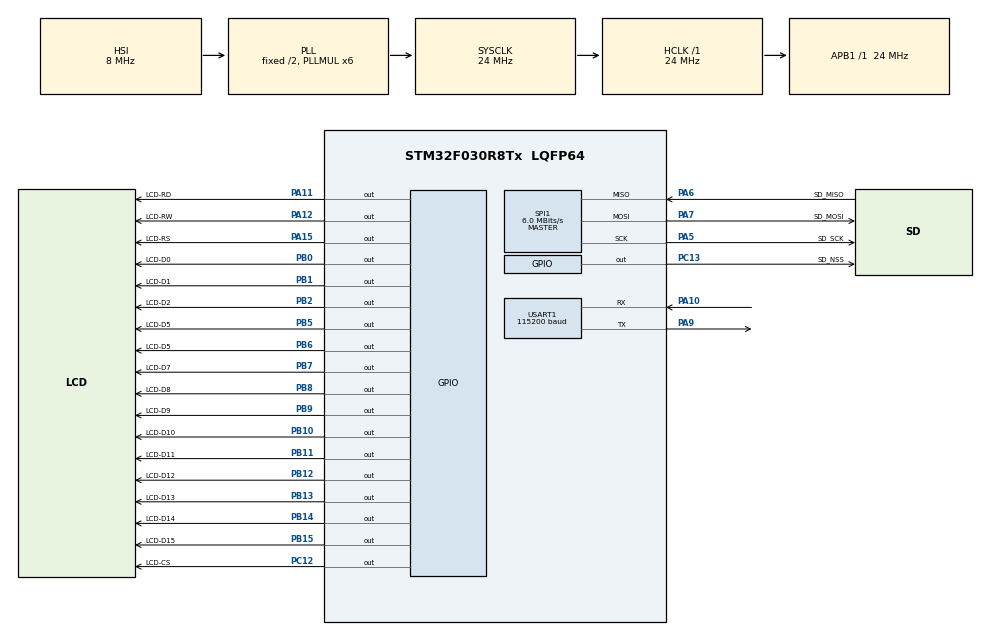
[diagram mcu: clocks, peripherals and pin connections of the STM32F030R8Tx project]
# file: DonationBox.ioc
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Dma.Request0=SPI1_RX
Dma.Request1=SPI1_TX
Dma.SPI1_RX.0.Direction=DMA_PERIPH_TO_MEMORY
Dma.SPI1_RX.0.Instance=DMA1_Channel2
Dma.SPI1_RX.0.MemDataAlignment=DMA_MDATAALIGN_BYTE
Dma.SPI1_RX.0.MemInc=DMA_MINC_ENABLE
Dma.SPI1_RX.0.Mode=DMA_NORMAL
Dma.SPI1_RX.0.PeriphDataAlignment=DMA_PDATAALIGN_BYTE
Dma.SPI1_RX.0.PeriphInc=DMA_PINC_DISABLE
Dma.SPI1_RX.0.Priority=DMA_PRIORITY_LOW
Dma.SPI1_TX.1.Direction=DMA_MEMORY_TO_PERIPH
Dma.SPI1_TX.1.Instance=DMA1_Channel3
Dma.SPI1_TX.1.MemDataAlignment=DMA_MDATAALIGN_BYTE
Dma.SPI1_TX.1.MemInc=DMA_MINC_ENABLE
Dma.SPI1_TX.1.Mode=DMA_NORMAL
Dma.SPI1_TX.1.PeriphDataAlignment=DMA_PDATAALIGN_BYTE
Dma.SPI1_TX.1.PeriphInc=DMA_PINC_DISABLE
Dma.SPI1_TX.1.Priority=DMA_PRIORITY_LOW
Mcu.Family=STM32F0
Mcu.Name=STM32F030R8Tx
Mcu.Package=LQFP64
NVIC.DMA1_Channel2_3_IRQn=true\:0\:0\:false\:false\:true\:false
NVIC.RTC_IRQn=true\:0\:0\:false\:false\:true\:true
NVIC.USART1_IRQn=true\:0\:0\:false\:false\:true\:true
PA10.Mode=Asynchronous
PA10.Signal=USART1_RX
PA11.GPIO_Label=LCD-RD
PA11.Signal=GPIO_Output
PA12.GPIO_Label=LCD-RW
PA12.Signal=GPIO_Output
PA15.GPIO_Label=LCD-RS
PA15.Signal=GPIO_Output
PA5.GPIO_Label=SD_SCK
PA5.Mode=Full_Duplex_Master
PA5.Signal=SPI1_SCK
PA6.GPIO_Label=SD_MISO
PA6.Mode=Full_Duplex_Master
PA6.Signal=SPI1_MISO
PA7.GPIO_Label=SD_MOSI
PA7.Mode=Full_Duplex_Master
PA7.Signal=SPI1_MOSI
PA9.Mode=Asynchronous
PA9.Signal=USART1_TX
PB0.GPIO_Label=LCD-D0
PB0.Signal=GPIO_Output
PB1.GPIO_Label=LCD-D1
PB1.Signal=GPIO_Output
PB10.GPIO_Label=LCD-D10
PB10.Signal=GPIO_Output
PB11.GPIO_Label=LCD-D11
PB11.Signal=GPIO_Output
PB12.GPIO_Label=LCD-D12
PB12.Signal=GPIO_Output
PB13.GPIO_Label=LCD-D13
PB13.Signal=GPIO_Output
PB14.GPIO_Label=LCD-D14
PB14.Signal=GPIO_Output
PB15.GPIO_Label=LCD-D15
PB15.Signal=GPIO_Output
PB2.GPIO_Label=LCD-D2
PB2.Signal=GPIO_Output
PB5.GPIO_Label=LCD-D5
PB5.Signal=GPIO_Output
PB6.GPIO_Label=LCD-D5
PB6.Signal=GPIO_Output
PB7.GPIO_Label=LCD-D7
PB7.Signal=GPIO_Output
PB8.GPIO_Label=LCD-D8
PB8.Signal=GPIO_Output
PB9.GPIO_Label=LCD-D9
PB9.Signal=GPIO_Output
PC12.GPIO_Label=LCD-CS
PC12.Signal=GPIO_Output
PC13.GPIO_Label=SD_NSS
PC13.Signal=GPIO_Output
PF0-OSC_IN.Mode=HSE-External-Oscillator
PF0-OSC_IN.Signal=RCC_OSC_IN
PF1-OSC_OUT.Mode=HSE-External-Oscillator
PF1-OSC_OUT.Signal=RCC_OSC_OUT
ProjectManager.HeapSize=0x200
ProjectManager.StackSize=0x400
ProjectManager.TargetToolchain=Makefile
RCC.AHBFreq_Value=24000000
RCC.APB1Freq_Value=24000000
RCC.APB1TimFreq_Value=24000000
RCC.HCLKFreq_Value=24000000
RCC.I2c1ClockSelection=RCC_I2C1CLKSOURCE_SYSCLK
RCC.PLLMUL=RCC_PLL_MUL6
RCC.SYSCLKFreq_VALUE=24000000
RCC.SYSCLKSource=RCC_SYSCLKSOURCE_PLLCLK
RTC.Alarm-Alarm\ A=RTC_ALARM_A
RTC.AlarmMaskDateWeekDay-Alarm\ A=RTC_ALARMMASK_DATEWEEKDAY
RTC.AlarmMaskHours-Alarm\ A=RTC_ALARMMASK_HOURS
RTC.AlarmMaskSeconds-Alarm\ A=RTC_ALARMMASK_SECONDS
RTC.Date=12
RTC.Hours=12
RTC.Hours_A-Alarm\ A=0
RTC.Minutes_A-Alarm\ A=0
RTC.Month=RTC_MONTH_MAY
RTC.Seconds_A-Alarm\ A=59
RTC.SubSeconds_A-Alarm\ A=0
RTC.WeekDay=RTC_WEEKDAY_SATURDAY
RTC.Year=18
SPI1.BaudRatePrescaler=SPI_BAUDRATEPRESCALER_4
SPI1.CalculateBaudRate=6.0 MBits/s
SPI1.Direction=SPI_DIRECTION_2LINES
SPI1.Mode=SPI_MODE_MASTER
SPI1.VirtualType=VM_MASTER
USART1.BaudRate=115200
USART1.VirtualMode-Asynchronous=VM_ASYNC
VP_CRC_VS_CRC.Mode=CRC_Activate
VP_FATFS_VS_Generic.Mode=User_defined
VP_RTC_VS_RTC_Activate.Mode=RTC_Enabled
VP_RTC_VS_RTC_Alarm_A_Intern.Mode=Alarm A
VP_RTC_VS_RTC_Calendar.Mode=RTC_Calendar
board=DonationBox

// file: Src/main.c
/**
  ******************************************************************************
  * @file           : main.c
  * @brief          : Main program body
  ******************************************************************************
  * This notice applies to any and all portions of this file
  * that are not between comment pairs USER CODE BEGIN and
  * USER CODE END. Other portions of this file, whether
  * inserted by the user or by software development tools
  * are owned by their respective copyright owners.
  *
  * Copyright (c) 2018 STMicroelectronics International N.V.
  * All rights reserved.
  *
  * Redistribution and use in source and binary forms, with or without
  * modification, are permitted, provided that the following conditions are met:
  *
  * 1. Redistribution of source code must retain the above copyright notice,
  *    this list of conditions and the following disclaimer.
  * 2. Redistributions in binary form must reproduce the above copyright notice,
  *    this list of conditions and the following disclaimer in the documentation
  *    and/or other materials provided with the distribution.
  * 3. Neither the name of STMicroelectronics nor the names of other
  *    contributors to this software may be used to endorse or promote products
  *    derived from this software without specific written permission.
  * 4. This software, including modifications and/or derivative works of this
  *    software, must execute solely and exclusively on microcontroller or
  *    microprocessor devices manufactured by or for STMicroelectronics.
  * 5. Redistribution and use of this software other than as permitted under
  *    this license is void and will automatically terminate your rights under
  *    this license.
  *
  * THIS SOFTWARE IS PROVIDED BY STMICROELECTRONICS AND CONTRIBUTORS "AS IS"
  * AND ANY EXPRESS, IMPLIED OR STATUTORY WARRANTIES, INCLUDING, BUT NOT
  * LIMITED TO, THE IMPLIED WARRANTIES OF MERCHANTABILITY, FITNESS FOR A
  * PARTICULAR PURPOSE AND NON-INFRINGEMENT OF THIRD PARTY INTELLECTUAL PROPERTY
  * RIGHTS ARE DISCLAIMED TO THE FULLEST EXTENT PERMITTED BY LAW. IN NO EVENT
  * SHALL STMICROELECTRONICS OR CONTRIBUTORS BE LIABLE FOR ANY DIRECT, INDIRECT,
  * INCIDENTAL, SPECIAL, EXEMPLARY, OR CONSEQUENTIAL DAMAGES (INCLUDING, BUT NOT
  * LIMITED TO, PROCUREMENT OF SUBSTITUTE GOODS OR SERVICES; LOSS OF USE, DATA,
  * OR PROFITS; OR BUSINESS INTERRUPTION) HOWEVER CAUSED AND ON ANY THEORY OF
  * LIABILITY, WHETHER IN CONTRACT, STRICT LIABILITY, OR TORT (INCLUDING
  * NEGLIGENCE OR OTHERWISE) ARISING IN ANY WAY OUT OF THE USE OF THIS SOFTWARE,
  * EVEN IF ADVISED OF THE POSSIBILITY OF SUCH DAMAGE.
  *
  ******************************************************************************
  */
#include "main.h"
#include "stm32f0xx_hal.h"
#include "crc.h"
#include "dma.h"
#include "fatfs.h"
#include "rtc.h"
#include "spi.h"
#include "usart.h"
#include "gpio.h"
#include "ILI9341_core.h"
#include "ILI9341_draw.h"

/* USER CODE BEGIN PV */
/* Private variables ---------------------------------------------------------*/

/* USER CODE END PV */

void SystemClock_Config(void);

/* USER CODE BEGIN PFP */
/* Private function prototypes -----------------------------------------------*/

/* USER CODE END PFP */

int main(void)
{

  /* MCU Configuration----------------------------------------------------------*/

  /* Reset of all peripherals, Initializes the Flash interface and the Systick. */
  HAL_Init();

  /* Configure the system clock */
  SystemClock_Config();

  /* Initialize all configured peripherals */
  MX_GPIO_Init();
  MX_DMA_Init();
  MX_SPI1_Init();
  MX_FATFS_Init();
  MX_RTC_Init();
  MX_USART1_UART_Init();
  MX_CRC_Init();
  /* USER CODE BEGIN 2 */
  HAL_UART_Receive_IT(&huart1, (uint8_t*)rxData, 1);
  HAL_GPIO_WritePin(GPIOA, GPIO_PIN_8,GPIO_PIN_SET);
  HAL_Delay(1000);
  ili9341_Init();
    HAL_Delay(1000);
  ili9341_Draw_Line( 10,10,10, 10,0xF800);
  HAL_Delay(1000);
  //void ili9341_Draw_Rectangle(uint16_t x, uint16_t y, uint16_t length, uint16_t width, uint16_t color);
  ili9341_Draw_Rectangle(10,10,50,50,0xF800);
  HAL_Delay(1000);
  /* USER CODE END 2 */

  /* Infinite loop */
  /* USER CODE BEGIN WHILE */
  while (1)
  {
  uint8_t buffer[3];
  buffer[0] = 11;
  buffer[1] = 0x0d;
  buffer[2] = 0x0a;

  HAL_UART_Transmit_IT(&huart1, (uint8_t*)buffer, 3);

  HAL_Delay(1000);
  if (dataReady==1){
     dataReady = 0;

  }
  /* USER CODE END WHILE */

  }

}

void SystemClock_Config(void)
{

  RCC_OscInitTypeDef RCC_OscInitStruct;
  RCC_ClkInitTypeDef RCC_ClkInitStruct;
  RCC_PeriphCLKInitTypeDef PeriphClkInit;

    /**Initializes the CPU, AHB and APB busses clocks
    */
  RCC_OscInitStruct.OscillatorType = RCC_OSCILLATORTYPE_HSI|RCC_OSCILLATORTYPE_LSI;
  RCC_OscInitStruct.HSIState = RCC_HSI_ON;
  RCC_OscInitStruct.HSICalibrationValue = 16;
  RCC_OscInitStruct.LSIState = RCC_LSI_ON;
  RCC_OscInitStruct.PLL.PLLState = RCC_PLL_ON;
  RCC_OscInitStruct.PLL.PLLSource = RCC_PLLSOURCE_HSI;
  RCC_OscInitStruct.PLL.PLLMUL = RCC_PLL_MUL6;
  RCC_OscInitStruct.PLL.PREDIV = RCC_PREDIV_DIV1;
  if (HAL_RCC_OscConfig(&RCC_OscInitStruct) != HAL_OK)
  {
    _Error_Handler(__FILE__, __LINE__);
  }

    /**Initializes the CPU, AHB and APB busses clocks
    */
  RCC_ClkInitStruct.ClockType = RCC_CLOCKTYPE_HCLK|RCC_CLOCKTYPE_SYSCLK
                              |RCC_CLOCKTYPE_PCLK1;
  RCC_ClkInitStruct.SYSCLKSource = RCC_SYSCLKSOURCE_PLLCLK;
  RCC_ClkInitStruct.AHBCLKDivider = RCC_SYSCLK_DIV1;
  RCC_ClkInitStruct.APB1CLKDivider = RCC_HCLK_DIV1;

  if (HAL_RCC_ClockConfig(&RCC_ClkInitStruct, FLASH_LATENCY_0) != HAL_OK)
  {
    _Error_Handler(__FILE__, __LINE__);
  }

  PeriphClkInit.PeriphClockSelection = RCC_PERIPHCLK_USART1|RCC_PERIPHCLK_RTC;
  PeriphClkInit.Usart1ClockSelection = RCC_USART1CLKSOURCE_PCLK1;
  PeriphClkInit.RTCClockSelection = RCC_RTCCLKSOURCE_LSI;
  if (HAL_RCCEx_PeriphCLKConfig(&PeriphClkInit) != HAL_OK)
  {
    _Error_Handler(__FILE__, __LINE__);
  }

    /**Configure the Systick interrupt time
    */
  HAL_SYSTICK_Config(HAL_RCC_GetHCLKFreq()/1000);

    /**Configure the Systick
    */
  HAL_SYSTICK_CLKSourceConfig(SYSTICK_CLKSOURCE_HCLK);

  /* SysTick_IRQn interrupt configuration */
  HAL_NVIC_SetPriority(SysTick_IRQn, 0, 0);
}

void _Error_Handler(char *file, int line)
{
  while(1)
  {
  }
}

/************************ (C) COPYRIGHT STMicroelectronics *****END OF FILE****/
